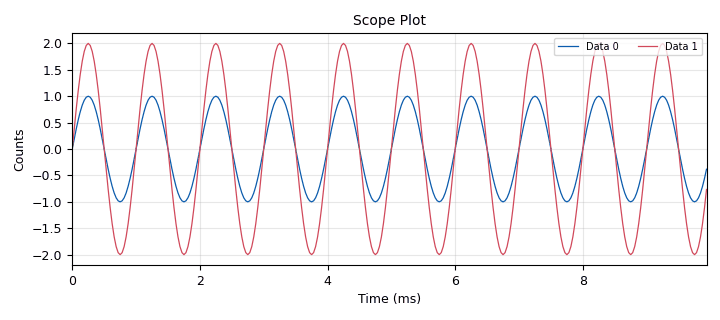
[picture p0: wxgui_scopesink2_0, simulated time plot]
<?xml version='1.0' encoding='utf-8'?>
<?grc format='1' created='3.7.11'?>
<flow_graph>
<block>
<key>options</key>
<param><key>id</key><value>top_block</value></param>
<param><key>generate_options</key><value>wx_gui</value></param>
</block>
<block>
<key>variable</key>
<param><key>id</key><value>samp_rate</value></param>
<param><key>value</key><value>32000</value></param>
</block>
<block>
<key>analog_sig_source_x</key>
<param><key>id</key><value>analog_sig_source_x_0</value></param>
<param><key>amp</key><value>1</value></param>
<param><key>freq</key><value>1000</value></param>
<param><key>offset</key><value>0</value></param>
<param><key>type</key><value>float</value></param>
<param><key>samp_rate</key><value>samp_rate</value></param>
<param><key>waveform</key><value>analog.GR_COS_WAVE</value></param>
</block>
<block>
<key>epy_block</key>
<param><key>id</key><value>epy_block_0</value></param>
<param><key>_source_code</key><value>"""
Embedded Python Blocks:

Each time this file is saved, GRC will instantiate the first class it finds
to get ports and parameters of your block. The arguments to __init__  will
be the parameters. All of them are required to have default values!
"""

import numpy as np
from gnuradio import gr


class blk(gr.sync_block):  # other base classes are basic_block, decim_block, interp_block
    """Embedded Python Block example - a simple multiply const"""

    def __init__(self, example_param=1.0):  # only default arguments here
        """arguments to this function show up as parameters in GRC"""
        gr.sync_block.__init__(
            self,
            name='Embedded Python Block',   # will show up in GRC
            in_sig=[np.float32],
            out_sig=[np.float32]
        )
        # if an attribute with the same name as a parameter is found,
        # a callback is registered (properties work, too).
        self.example_param = example_param

    def work(self, input_items, output_items):
        """example: multiply with constant"""
        output_items[0][:] = input_items[0] * self.example_param
        return len(output_items[0])
</value></param>
<param><key>example_param</key><value>2</value></param>
</block>
<block>
<key>wxgui_scopesink2</key>
<param><key>id</key><value>wxgui_scopesink2_0</value></param>
<param><key>ac_couple</key><value>False</value></param>
<param><key>num_inputs</key><value>2</value></param>
<param><key>samp_rate</key><value>samp_rate</value></param>
<param><key>t_scale</key><value>0</value></param>
<param><key>title</key><value>Scope Plot</value></param>
<param><key>trig_mode</key><value>wxgui.TRIG_MODE_AUTO</value></param>
<param><key>type</key><value>float</value></param>
<param><key>v_offset</key><value>0</value></param>
<param><key>v_scale</key><value>0</value></param>
<param><key>xy_mode</key><value>False</value></param>
<param><key>y_axis_label</key><value>Counts</value></param>
</block>
<connection><source_block_id>analog_sig_source_x_0</source_block_id><sink_block_id>epy_block_0</sink_block_id><source_key>0</source_key><sink_key>0</sink_key></connection>
<connection><source_block_id>analog_sig_source_x_0</source_block_id><sink_block_id>wxgui_scopesink2_0</sink_block_id><source_key>0</source_key><sink_key>0</sink_key></connection>
<connection><source_block_id>epy_block_0</source_block_id><sink_block_id>wxgui_scopesink2_0</sink_block_id><source_key>0</source_key><sink_key>1</sink_key></connection>
</flow_graph>
